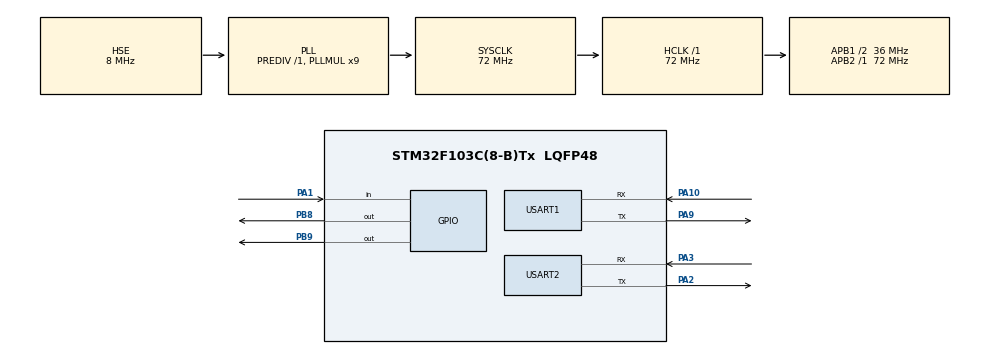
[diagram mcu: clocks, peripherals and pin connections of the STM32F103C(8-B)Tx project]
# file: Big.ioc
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Mcu.Family=STM32F1
Mcu.Name=STM32F103C(8-B)Tx
Mcu.Package=LQFP48
NVIC.PriorityGroup=NVIC_PRIORITYGROUP_4
NVIC.USART2_IRQn=true\:0\:0\:false\:false\:true\:true\:true\:true
PA1.Signal=GPIO_Input
PA10.Mode=Asynchronous
PA10.Signal=USART1_RX
PA13.Mode=Serial_Wire
PA13.Signal=SYS_JTMS-SWDIO
PA14.Mode=Serial_Wire
PA14.Signal=SYS_JTCK-SWCLK
PA2.Mode=Asynchronous
PA2.Signal=USART2_TX
PA3.Mode=Asynchronous
PA3.Signal=USART2_RX
PA9.Mode=Asynchronous
PA9.Signal=USART1_TX
PB8.PinState=GPIO_PIN_SET
PB8.Signal=GPIO_Output
PB9.PinState=GPIO_PIN_SET
PB9.Signal=GPIO_Output
PD0-OSC_IN.Mode=HSE-External-Oscillator
PD0-OSC_IN.Signal=RCC_OSC_IN
PD1-OSC_OUT.Mode=HSE-External-Oscillator
PD1-OSC_OUT.Signal=RCC_OSC_OUT
ProjectManager.HeapSize=0x200
ProjectManager.StackSize=0x400
ProjectManager.TargetToolchain=STM32CubeIDE
RCC.AHBFreq_Value=72000000
RCC.APB1CLKDivider=RCC_HCLK_DIV2
RCC.APB1Freq_Value=36000000
RCC.APB1TimFreq_Value=72000000
RCC.APB2Freq_Value=72000000
RCC.APB2TimFreq_Value=72000000
RCC.HCLKFreq_Value=72000000
RCC.PLLMUL=RCC_PLL_MUL9
RCC.PLLSourceVirtual=RCC_PLLSOURCE_HSE
RCC.SYSCLKFreq_VALUE=72000000
RCC.SYSCLKSource=RCC_SYSCLKSOURCE_PLLCLK
RCC.USBFreq_Value=72000000
USART1.VirtualMode=VM_ASYNC
USART2.VirtualMode=VM_ASYNC
board=custom

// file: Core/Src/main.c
/* USER CODE BEGIN Header */
/**
  ******************************************************************************
  * @file           : main.c
  * @brief          : Main program body
  ******************************************************************************
  * @attention
  *
  * Copyright (c) 2024 STMicroelectronics.
  * All rights reserved.
  *
  * This software is licensed under terms that can be found in the LICENSE file
  * in the root directory of this software component.
  * If no LICENSE file comes with this software, it is provided AS-IS.
  *
  ******************************************************************************
  */
/* USER CODE END Header */
#include "main.h"
#include "usart.h"
#include "gpio.h"

/* USER CODE BEGIN Includes */
#include "stdio.h"
#include "string.h"
/* USER CODE END Includes */

/* USER CODE BEGIN PV */

uint8_t my_uart1_redata=0;
uint8_t my_uart2_redata=0;
uint8_t temp;
/* USER CODE END PV */

void SystemClock_Config(void);

/* USER CODE BEGIN 0 */

void HAL_UART_RxCpltCallback(UART_HandleTypeDef *huart)
{
  if(huart == &huart2)//判断串口号
  {
  	  if (my_uart2_redata == 'a')
  	  {
  		  HAL_GPIO_TogglePin(GPIOB, GPIO_PIN_8);
  		  printf("a\r\n");
  	  }

  	  HAL_UART_Receive_IT(&huart2,&my_uart2_redata,1); //无论接收到什么字符，都再次开启一次中断接收下一个字符
  }

}

/* USER CODE END 0 */

int main(void)
{

  /* MCU Configuration--------------------------------------------------------*/

  /* Reset of all peripherals, Initializes the Flash interface and the Systick. */
  HAL_Init();

  /* Configure the system clock */
  SystemClock_Config();

  /* Initialize all configured peripherals */
  MX_GPIO_Init();
  MX_USART1_UART_Init();
  MX_USART2_UART_Init();
  /* USER CODE BEGIN 2 */
  HAL_UART_Receive_IT(&huart2,&my_uart2_redata,1);
  /* USER CODE END 2 */

  /* Infinite loop */
  while (1)
  {

    /* USER CODE BEGIN 3 */
	if(HAL_GPIO_ReadPin(GPIOA, GPIO_PIN_1) == 0)
	{
		HAL_Delay(200);
		if(HAL_GPIO_ReadPin(GPIOA, GPIO_PIN_1) == 0)
		{
			HAL_GPIO_TogglePin(GPIOB, GPIO_PIN_9);
			printf("a\r\n");
		}

	}

  }
  /* USER CODE END 3 */
}

void SystemClock_Config(void)
{
  RCC_OscInitTypeDef RCC_OscInitStruct = {0};
  RCC_ClkInitTypeDef RCC_ClkInitStruct = {0};

  /** Initializes the RCC Oscillators according to the specified parameters
  * in the RCC_OscInitTypeDef structure.
  */
  RCC_OscInitStruct.OscillatorType = RCC_OSCILLATORTYPE_HSE;
  RCC_OscInitStruct.HSEState = RCC_HSE_ON;
  RCC_OscInitStruct.HSEPredivValue = RCC_HSE_PREDIV_DIV1;
  RCC_OscInitStruct.HSIState = RCC_HSI_ON;
  RCC_OscInitStruct.PLL.PLLState = RCC_PLL_ON;
  RCC_OscInitStruct.PLL.PLLSource = RCC_PLLSOURCE_HSE;
  RCC_OscInitStruct.PLL.PLLMUL = RCC_PLL_MUL9;
  if (HAL_RCC_OscConfig(&RCC_OscInitStruct) != HAL_OK)
  {
    Error_Handler();
  }

  /** Initializes the CPU, AHB and APB buses clocks
  */
  RCC_ClkInitStruct.ClockType = RCC_CLOCKTYPE_HCLK|RCC_CLOCKTYPE_SYSCLK
                              |RCC_CLOCKTYPE_PCLK1|RCC_CLOCKTYPE_PCLK2;
  RCC_ClkInitStruct.SYSCLKSource = RCC_SYSCLKSOURCE_PLLCLK;
  RCC_ClkInitStruct.AHBCLKDivider = RCC_SYSCLK_DIV1;
  RCC_ClkInitStruct.APB1CLKDivider = RCC_HCLK_DIV2;
  RCC_ClkInitStruct.APB2CLKDivider = RCC_HCLK_DIV1;

  if (HAL_RCC_ClockConfig(&RCC_ClkInitStruct, FLASH_LATENCY_2) != HAL_OK)
  {
    Error_Handler();
  }
}

void Error_Handler(void)
{
  __disable_irq();
  while (1)
  {
  }
}
